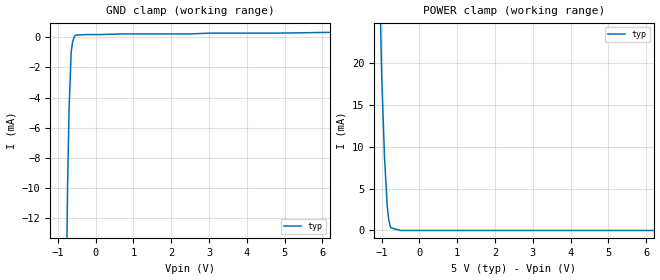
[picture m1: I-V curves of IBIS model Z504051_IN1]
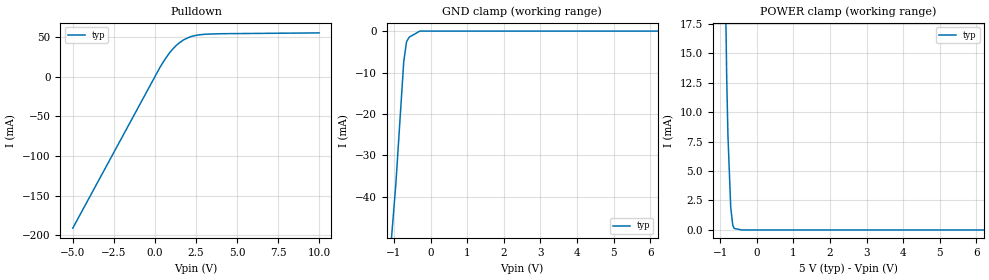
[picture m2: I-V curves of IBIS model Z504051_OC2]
| YOU ARE ONLY AUTHORIZED TO USE THIS SOFTWARE
| ACCORDING TO LICENSOR'S LICENSE RESTRICTIONS.
[IBIS Ver] 3.1
[File Name] mc54hc03aj.ibs
[File Rev] 2.0
[Source] Measured and created by ICX Technology
[Date] Friday 7/14/00 9:08:05 AM
[Copyright]
| (C) COPYRIGHT 1993-2000
| MENTOR GRAPHICS CORPORATION
| ICX STANDARD LIBRARY, ICX PROJECT MODELING,
| ICX CUSTOM MODELING, ICX VENDOR MODEL
| ALL RIGHTS RESERVED.
| THE FOLLOWING ARE TRADEMARKS OR SERVICE MARKS OF
| MENTOR GRAPHICS CORPORATION:ICX (R), ICX STANDARD
| LIBRARY(R), ICX PROJECT MODELING(R), ICX CUSTOM
| MODELING(R), qualityIBIS(TM), MODELVIEWER(TM),
| AND MODELEDITOR(TM)
| ALL COPIES OF SOFTWARE, INCLUDING BUT NOT LIMITED TO
| ANY MODIFICATIONS, ENHANCEMENTS OR DERIVATIVE WORKS,
| MUST CONTAIN ALL MENTOR GRAPHICS CORPORATION'S
| NOTICES AND LEGENDS, INCLUDING THOSE EMBEDDED IN
| SOFTWARE AND THOSE AFFIXED TO SOFTWARE MEDIUM
| AND CONTAINER, AS RECEIVED FROM MENTOR GRAPHICS
| CORPORATION.
|  ZAP Model Builder 2.7
[Component] MC54HC03AJ
[Manufacturer] OnSemiconductor
[Package]
| variable   typ   min   max
R_pkg  .21ohms NA NA
L_pkg  4.543nH NA NA
C_pkg  1.8pF NA NA
[Pin] signal_name  model_name  R_pin  L_pin C_pin
1 A Z504051_IN1 .22 6.757n 2.434p
2 B Z504051_IN1 .212 4.757n 1.941p
3 Y Z504051_OC2 .204 3.257n 1.448p
4 A Z504051_IN1 .196 2.257n .955p
5 B Z504051_IN1 .204 3.257n 1.448p
6 Y Z504051_OC2 .212 4.757n 1.941p
7 GROUND GND .22 6.757n 2.434p
8 Y Z504051_OC2 .22 6.757n 2.434p
9 A Z504051_IN1 .212 4.757n 1.941p
10 B Z504051_IN1 .204 3.257n 1.448p
11 Y Z504051_OC2 .196 2.257n .955p
12 A Z504051_IN1 .204 3.257n 1.448p
13 B Z504051_IN1 .212 4.757n 1.941p
14 VCC POWER .22 6.757n 2.434p
| Models and submodels in the file (2): Z504051_IN1 (Input), Z504051_OC2 (Open_sink)
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| (C) COPYRIGHT 1993-2000
| MENTOR GRAPHICS CORPORATION
| ICX STANDARD LIBRARY, ICX PROJECT MODELING,
| ICX CUSTOM MODELING, ICX VENDOR MODEL
| ALL RIGHTS RESERVED.
| THE FOLLOWING ARE TRADEMARKS OR SERVICE MARKS OF
| MENTOR GRAPHICS CORPORATION:ICX (R), ICX STANDARD
| LIBRARY(R), ICX PROJECT MODELING(R), ICX CUSTOM
| MODELING(R), qualityIBIS(TM), MODELVIEWER(TM),
| AND MODELEDITOR(TM)
| ALL COPIES OF SOFTWARE, INCLUDING BUT NOT LIMITED TO
| ANY MODIFICATIONS, ENHANCEMENTS OR DERIVATIVE WORKS,
| MUST CONTAIN ALL MENTOR GRAPHICS CORPORATION'S
| NOTICES AND LEGENDS, INCLUDING THOSE EMBEDDED IN
| SOFTWARE AND THOSE AFFIXED TO SOFTWARE MEDIUM
| AND CONTAINER, AS RECEIVED FROM MENTOR GRAPHICS
| CORPORATION.
| Model Application Version 1.89 2/18/99.
[Model] Z504051_IN1
Model_type Input
Vinl = 1.000V
Vinh = 3.500V
C_comp 4.000pF NA NA
| variable typ   min   max
[Voltage Range] 5.000V NA NA
[GND Clamp Reference] 0.000V NA NA
[POWER Clamp Reference] 5.000V NA NA
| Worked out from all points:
|   GND clamp passes 1 mA (typ) near -0.65 V on its own axis
|   POWER clamp passes 1 mA (typ) near -0.80 V on its own axis
[GND Clamp]
-5V       -1.379A    NA         NA
-1.133V   -90.61mA   NA         NA
-742.1mV  -9.855mA   NA         NA
-703.1mV  -4.771mA   NA         NA
-647mV    -1.002mA   NA         NA
-610.2mV  -323.5uA   NA         NA
-571.3mV  -15.04uA   NA         NA
-532.3mV  120.8uA    NA         NA
723.5mV   209.7uA    NA         NA
4.757V    257.6uA    NA         NA
10V       443.8uA    NA         NA
[POWER Clamp]
-5V       1.318A     NA         NA
-1.522V   159.6mA    NA         NA
-1.235V   72.94mA    NA         NA
-1.093V   37.6mA     NA         NA
-996mV    18.34mA    NA         NA
-923mV    8.768mA    NA         NA
-850mV    2.853mA    NA         NA
-813mV    1.319mA    NA         NA
-771mV    496.4uA    NA         NA
-752mV    307.5uA    NA         NA
-501.3mV  0A         NA         NA
10V       0A         NA         NA
| (C) COPYRIGHT 1993-2000
| MENTOR GRAPHICS CORPORATION
| ICX STANDARD LIBRARY, ICX PROJECT MODELING,
| ICX CUSTOM MODELING, ICX VENDOR MODEL
| ALL RIGHTS RESERVED.
| THE FOLLOWING ARE TRADEMARKS OR SERVICE MARKS OF
| MENTOR GRAPHICS CORPORATION:ICX (R), ICX STANDARD
| LIBRARY(R), ICX PROJECT MODELING(R), ICX CUSTOM
| MODELING(R), qualityIBIS(TM), MODELVIEWER(TM),
| AND MODELEDITOR(TM)
| ALL COPIES OF SOFTWARE, INCLUDING BUT NOT LIMITED TO
| ANY MODIFICATIONS, ENHANCEMENTS OR DERIVATIVE WORKS,
| MUST CONTAIN ALL MENTOR GRAPHICS CORPORATION'S
| NOTICES AND LEGENDS, INCLUDING THOSE EMBEDDED IN
| SOFTWARE AND THOSE AFFIXED TO SOFTWARE MEDIUM
| AND CONTAINER, AS RECEIVED FROM MENTOR GRAPHICS
| CORPORATION.
| Model Application Version 1.89 2/18/99.
[Model] Z504051_OC2
Model_type Open_sink
Vref=5.000V
Rref=1.000kohms
Cref=50.00pF
Vmeas=2.500V
C_comp 8.000pF NA NA
| variable typ   min   max
[Voltage Range] 5.000V NA NA
[POWER Clamp Reference] 5.000V NA NA
[Pullup Reference] 5.000V NA NA
[Pulldown Reference] 0.000V NA NA
[GND Clamp Reference] 0.000V NA NA
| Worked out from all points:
|   slope of the pulldown table from 0 to 0.75 V, typ, clamps not added: 29 ohm
|   POWER clamp passes 1 mA (typ) near -0.68 V on its own axis
[GND Clamp]
-5V       -330.4mA   NA         NA
-1.225V   -64.41mA   NA         NA
-1.104V   -53.97mA   NA         NA
-947.9mV  -36.89mA   NA         NA
-732mV    -7.354mA   NA         NA
-657.4mV  -2.634mA   NA         NA
-584.8mV  -1.477mA   NA         NA
-292.4mV  0A         NA         NA
10V       0A         NA         NA
[Pulldown]
-5V       -191.1mA   NA         NA
293.7mV   11.13mA    NA         NA
908.9mV   30.49mA    NA         NA
1.515V    43.09mA    NA         NA
2.146V    50.14mA    NA         NA
3.082V    53.49mA    NA         NA
10V       55.19mA    NA         NA
[POWER Clamp]
-5V       1.305A     NA         NA
-1.288V   134.7mA    NA         NA
-1.013V   55.63mA    NA         NA
-820mV    12.97mA    NA         NA
-786mV    8.005mA    NA         NA
-710mV    1.923mA    NA         NA
-654mV    395.7uA    NA         NA
-615mV    129.6uA    NA         NA
-410mV    0A         NA         NA
10V       0A         NA         NA
[Ramp]
| variable typ min max
dV/dt_r 2.658/2.028n NA NA
dV/dt_f 2.658/882.7p NA NA
R_load = 250.0Ohms
